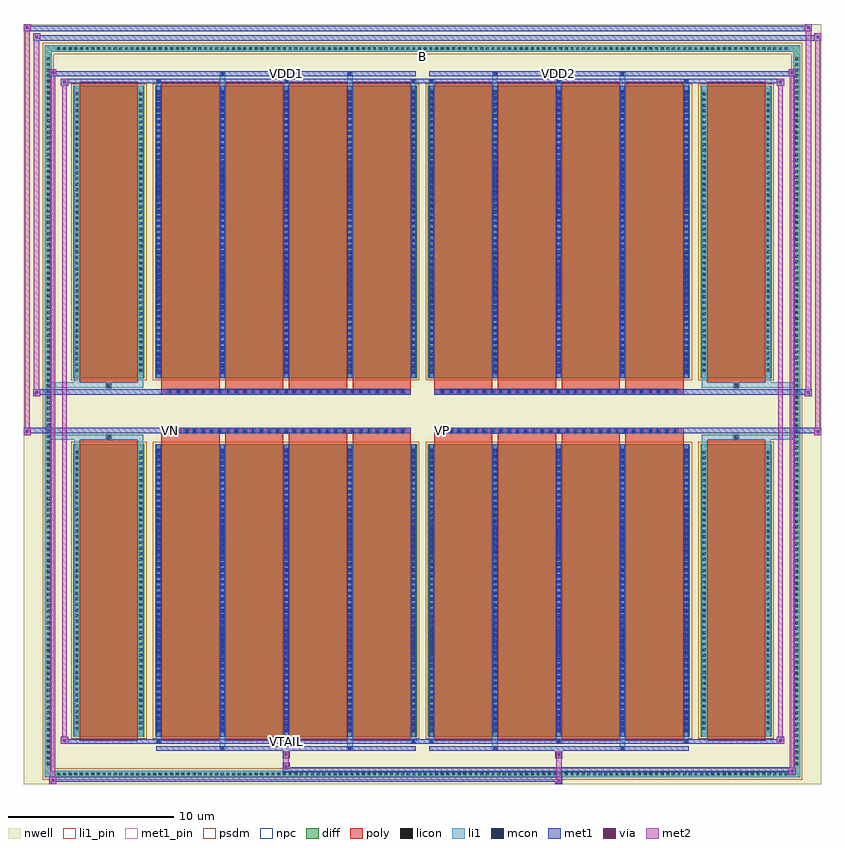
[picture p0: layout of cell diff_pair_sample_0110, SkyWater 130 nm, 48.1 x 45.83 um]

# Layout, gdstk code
import gdstk
lib = gdstk.Library(unit=1e-6, precision=5e-09)
def R(c, l, rs):  # rectangles x0, y0, x1, y1
    for r in rs: c.add(gdstk.rectangle(r[:2], r[2:], *l))
def A(c, l, x, y, w, h, nx, ny, dx, dy):  # array of equal rectangles
    R(c, l, [(x+i*dx, y+j*dy, x+i*dx+w, y+j*dy+h) for i in range(nx) for j in range(ny)])
def P(c, l, *ps):  # polygons
    for p in ps: c.add(gdstk.Polygon(p, *l))
nwell = (64, 20)
diff = (65, 20)
poly = (66, 20)
licon = (66, 44)
li1_pin = (67, 16)
li1 = (67, 20)
mcon = (67, 44)
met1_pin = (68, 16)
met1 = (68, 20)
via = (68, 44)
met2 = (69, 20)
psdm = (94, 20)
npc = (95, 20)

diff_pair_sample_0110 = lib.new_cell('diff_pair_sample_0110')
R(diff_pair_sample_0110, nwell, [(-24.05,-22.48,24.05,23.35), (-21.37,-20.67,-0.01,-0.805), (0.01,-20.67,21.37,-0.805), (-21.37,0.805,-0.01,20.67), (0.01,0.805,21.37,20.67)])
A(diff_pair_sample_0110, diff, -22.135, -22.08, 0.41, 0.41, 130, 2, 0.34, 43.75)
A(diff_pair_sample_0110, diff, -22.78, -21.455, 0.41, 0.41, 1, 126, 0, 0.34)
A(diff_pair_sample_0110, diff, 22.37, -21.455, 0.41, 0.41, 1, 126, 0, 0.34)
R(diff_pair_sample_0110, diff, [(-22.135,-22.08,22.135,-21.67), (-22.78,-21.455,-22.37,21.455), (22.37,-21.455,22.78,21.455), (-21.06,-19.625,-16.77,-1.985), (-16.13,-19.625,-0.32,-1.985), (0.32,-19.625,16.13,-1.985), (16.77,-19.625,21.06,-1.985), (-21.06,1.985,-16.77,19.625), (-16.13,1.985,-0.32,19.625), (0.32,1.985,16.13,19.625), (16.77,1.985,21.06,19.625), (-22.135,21.67,22.135,22.08)])
P(diff_pair_sample_0110, diff, [(22.78,22.08),(-22.78,22.08),(-22.78,-21.67),(-22.37,-21.67),(-22.37,21.67),(22.37,21.67),(22.37,-21.67),(-22.37,-21.67),(-22.78,-21.67),(-22.78,-22.08),(22.78,-22.08)])
A(diff_pair_sample_0110, poly, -15.74, -19.875, 3.51, 18.14, 4, 2, 3.84, 21.61)
A(diff_pair_sample_0110, poly, 0.71, -19.875, 3.51, 18.14, 4, 2, 3.84, 21.61)
A(diff_pair_sample_0110, poly, -15.74, -1.735, 3.51, 0.4, 4, 2, 3.84, 3.07)
A(diff_pair_sample_0110, poly, 0.71, -1.735, 3.51, 0.4, 4, 2, 3.84, 3.07)
A(diff_pair_sample_0110, poly, -15.39, -1.335, 0.33, 0.33, 29, 2, 0.5, 2.34)
A(diff_pair_sample_0110, poly, 1.06, -1.335, 0.33, 0.33, 29, 2, 0.5, 2.34)
R(diff_pair_sample_0110, poly, [(-20.67,-19.875,-17.16,-1.735), (17.16,-19.875,20.67,-1.735), (-19.08,-1.735,-18.75,-1.405), (-19.08,-1.735,-18.75,-1.405), (18.75,-1.735,19.08,-1.405), (18.75,-1.735,19.08,-1.405), (-15.74,-1.335,-0.71,-1.005), (0.71,-1.335,15.74,-1.005), (-15.74,1.005,-0.71,1.335), (0.71,1.005,15.74,1.335), (-19.08,1.405,-18.75,1.735), (-19.08,1.405,-18.75,1.735), (18.75,1.405,19.08,1.735), (18.75,1.405,19.08,1.735), (-20.67,1.735,-17.16,19.875), (17.16,1.735,20.67,19.875)])
A(diff_pair_sample_0110, licon, -22.015, -21.96, 0.17, 0.17, 130, 2, 0.34, 43.75)
A(diff_pair_sample_0110, licon, -22.66, -21.335, 0.17, 0.17, 1, 126, 0, 0.34)
A(diff_pair_sample_0110, licon, 22.49, -21.335, 0.17, 0.17, 1, 126, 0, 0.34)
A(diff_pair_sample_0110, licon, -20.92, -19.22, 0.17, 0.17, 1, 50, 0, 0.34)
A(diff_pair_sample_0110, licon, -17.08, -19.22, 0.17, 0.17, 1, 50, 0, 0.34)
A(diff_pair_sample_0110, licon, -15.99, -19.22, 0.17, 0.17, 5, 50, 3.84, 0.34)
A(diff_pair_sample_0110, licon, 0.46, -19.22, 0.17, 0.17, 5, 50, 3.84, 0.34)
A(diff_pair_sample_0110, licon, 16.91, -19.22, 0.17, 0.17, 1, 50, 0, 0.34)
A(diff_pair_sample_0110, licon, 20.75, -19.22, 0.17, 0.17, 1, 50, 0, 0.34)
A(diff_pair_sample_0110, licon, -15.31, -1.255, 0.17, 0.17, 29, 2, 0.5, 2.34)
A(diff_pair_sample_0110, licon, 1.14, -1.255, 0.17, 0.17, 29, 2, 0.5, 2.34)
A(diff_pair_sample_0110, licon, -20.92, 2.39, 0.17, 0.17, 1, 50, 0, 0.34)
A(diff_pair_sample_0110, licon, -17.08, 2.39, 0.17, 0.17, 1, 50, 0, 0.34)
A(diff_pair_sample_0110, licon, -15.99, 2.39, 0.17, 0.17, 5, 50, 3.84, 0.34)
A(diff_pair_sample_0110, licon, 0.46, 2.39, 0.17, 0.17, 5, 50, 3.84, 0.34)
A(diff_pair_sample_0110, licon, 16.91, 2.39, 0.17, 0.17, 1, 50, 0, 0.34)
A(diff_pair_sample_0110, licon, 20.75, 2.39, 0.17, 0.17, 1, 50, 0, 0.34)
R(diff_pair_sample_0110, licon, [(-19,-1.655,-18.83,-1.485), (18.83,-1.655,19,-1.485), (-19,1.485,-18.83,1.655), (18.83,1.485,19,1.655)])
R(diff_pair_sample_0110, li1_pin, [(-0.25,21.17,0.25,21.67)])
A(diff_pair_sample_0110, li1, -22.095, -22.04, 0.33, 0.33, 130, 2, 0.34, 43.75)
A(diff_pair_sample_0110, li1, -22.74, -21.415, 0.33, 0.33, 1, 126, 0, 0.34)
A(diff_pair_sample_0110, li1, 22.41, -21.415, 0.33, 0.33, 1, 126, 0, 0.34)
A(diff_pair_sample_0110, li1, -16.07, -20, 0.33, 0.375, 3, 2, 7.68, 39.625)
A(diff_pair_sample_0110, li1, -15.99, -20, 0.17, 0.17, 3, 2, 7.68, 39.83)
A(diff_pair_sample_0110, li1, 0.38, -20, 0.33, 0.375, 3, 2, 7.68, 39.625)
A(diff_pair_sample_0110, li1, 0.46, -20, 0.17, 0.17, 3, 2, 7.68, 39.83)
A(diff_pair_sample_0110, li1, -16.07, -19.625, 0.33, 17.64, 5, 2, 3.84, 21.61)
A(diff_pair_sample_0110, li1, 0.38, -19.625, 0.33, 17.64, 5, 2, 3.84, 21.61)
A(diff_pair_sample_0110, li1, -15.99, -19.35, 0.17, 0.17, 5, 48, 3.84, 0.36)
A(diff_pair_sample_0110, li1, -15.99, -19.35, 0.17, 17.09, 5, 2, 3.84, 21.61)
A(diff_pair_sample_0110, li1, 0.46, -19.35, 0.17, 0.17, 5, 48, 3.84, 0.36)
A(diff_pair_sample_0110, li1, 0.46, -19.35, 0.17, 17.09, 5, 2, 3.84, 21.61)
A(diff_pair_sample_0110, li1, -21, -19.3, 0.33, 0.33, 1, 50, 0, 0.34)
A(diff_pair_sample_0110, li1, -17.16, -19.3, 0.33, 0.33, 1, 50, 0, 0.34)
A(diff_pair_sample_0110, li1, -16.07, -19.3, 0.33, 0.33, 5, 50, 3.84, 0.34)
A(diff_pair_sample_0110, li1, 0.38, -19.3, 0.33, 0.33, 5, 50, 3.84, 0.34)
A(diff_pair_sample_0110, li1, 16.83, -19.3, 0.33, 0.33, 1, 50, 0, 0.34)
A(diff_pair_sample_0110, li1, 20.67, -19.3, 0.33, 0.33, 1, 50, 0, 0.34)
A(diff_pair_sample_0110, li1, -15.39, -1.335, 0.33, 0.33, 29, 2, 0.5, 2.34)
A(diff_pair_sample_0110, li1, 1.06, -1.335, 0.33, 0.33, 29, 2, 0.5, 2.34)
A(diff_pair_sample_0110, li1, -15.99, 2.26, 0.17, 0.17, 5, 48, 3.84, 0.36)
A(diff_pair_sample_0110, li1, 0.46, 2.26, 0.17, 0.17, 5, 48, 3.84, 0.36)
A(diff_pair_sample_0110, li1, -21, 2.31, 0.33, 0.33, 1, 50, 0, 0.34)
A(diff_pair_sample_0110, li1, -17.16, 2.31, 0.33, 0.33, 1, 50, 0, 0.34)
A(diff_pair_sample_0110, li1, -16.07, 2.31, 0.33, 0.33, 5, 50, 3.84, 0.34)
A(diff_pair_sample_0110, li1, 0.38, 2.31, 0.33, 0.33, 5, 50, 3.84, 0.34)
A(diff_pair_sample_0110, li1, 16.83, 2.31, 0.33, 0.33, 1, 50, 0, 0.34)
A(diff_pair_sample_0110, li1, 20.67, 2.31, 0.33, 0.33, 1, 50, 0, 0.34)
R(diff_pair_sample_0110, li1, [(-22.78,-22.08,-22.37,-21.67), (-22.78,-22.08,-22.37,-21.67), (-22.37,-22.08,22.37,-21.67), (22.37,-22.08,22.78,-21.67), (22.37,-22.08,22.78,-21.67), (-22.78,-21.67,-22.37,21.67), (22.37,-21.67,22.78,21.67), (-12.23,-20.43,-11.9,-19.625), (-12.15,-20.43,-11.98,-20.26), (-4.55,-20.43,-4.22,-19.625), (-4.47,-20.43,-4.3,-20.26), (4.22,-20.43,4.55,-19.625), (4.3,-20.43,4.47,-20.26), (11.9,-20.43,12.23,-19.625), (11.98,-20.43,12.15,-20.26), (-21,-19.625,-20.67,-1.985), (-17.16,-19.625,-16.83,-1.985), (16.83,-19.625,17.16,-1.985), (20.67,-19.625,21,-1.985), (-21,-1.985,-20.67,-1.405), (-17.16,-1.985,-16.83,-1.405), (16.83,-1.985,17.16,-1.405), (20.67,-1.985,21,-1.405), (-22.78,-1.735,-19.08,-1.405), (-21,-1.735,-19.08,-1.405), (-19.08,-1.735,-18.75,-1.405), (-18.75,-1.735,-16.83,-1.405), (16.83,-1.735,18.75,-1.405), (18.75,-1.735,19.08,-1.405), (18.75,-1.735,22.78,-1.405), (19.08,-1.735,21,-1.405), (-22.78,1.405,-19.08,1.735), (-21,1.405,-19.08,1.735), (-21,1.405,-20.67,1.985), (-19.08,1.405,-18.75,1.735), (-18.75,1.405,-16.83,1.735), (-17.16,1.405,-16.83,1.985), (16.83,1.405,18.75,1.735), (16.83,1.405,17.16,1.985), (18.75,1.405,19.08,1.735), (18.75,1.405,22.78,1.735), (19.08,1.405,21,1.735), (20.67,1.405,21,1.985), (-21,1.985,-20.67,19.625), (-17.16,1.985,-16.83,19.625), (16.83,1.985,17.16,19.625), (20.67,1.985,21,19.625), (-12.23,19.625,-11.9,20.43), (-4.55,19.625,-4.22,20.43), (4.22,19.625,4.55,20.43), (11.9,19.625,12.23,20.43), (-12.15,20.26,-11.98,20.43), (-4.47,20.26,-4.3,20.43), (4.3,20.26,4.47,20.43), (11.98,20.26,12.15,20.43), (-22.78,21.67,-22.37,22.08), (-22.78,21.67,-22.37,22.08), (-22.37,21.67,22.37,22.08), (22.37,21.67,22.78,22.08), (22.37,21.67,22.78,22.08)])
A(diff_pair_sample_0110, mcon, -15.99, -20, 0.17, 0.17, 3, 2, 7.68, 39.83)
A(diff_pair_sample_0110, mcon, 0.46, -20, 0.17, 0.17, 3, 2, 7.68, 39.83)
A(diff_pair_sample_0110, mcon, -15.99, -19.35, 0.17, 0.17, 5, 48, 3.84, 0.36)
A(diff_pair_sample_0110, mcon, 0.46, -19.35, 0.17, 0.17, 5, 48, 3.84, 0.36)
A(diff_pair_sample_0110, mcon, -15.31, -1.255, 0.17, 0.17, 29, 2, 0.5, 2.34)
A(diff_pair_sample_0110, mcon, 1.14, -1.255, 0.17, 0.17, 29, 2, 0.5, 2.34)
A(diff_pair_sample_0110, mcon, -15.99, 2.26, 0.17, 0.17, 5, 48, 3.84, 0.36)
A(diff_pair_sample_0110, mcon, 0.46, 2.26, 0.17, 0.17, 5, 48, 3.84, 0.36)
R(diff_pair_sample_0110, mcon, [(-12.15,-20.43,-11.98,-20.26), (-4.47,-20.43,-4.3,-20.26), (4.3,-20.43,4.47,-20.26), (11.98,-20.43,12.15,-20.26), (-12.15,20.26,-11.98,20.43), (-4.47,20.26,-4.3,20.43), (4.3,20.26,4.47,20.43), (11.98,20.26,12.15,20.43)])
R(diff_pair_sample_0110, met1_pin, [(-8.36,-20.04,-8.09,-19.77), (-15.36,-1.295,-15.09,-1.025), (1.09,-1.295,1.36,-1.025), (-8.36,20.22,-8.09,20.49), (8.09,20.22,8.36,20.49)])
A(diff_pair_sample_0110, met1, -16.05, -20.06, 0.29, 0.29, 3, 2, 7.68, 39.83)
A(diff_pair_sample_0110, met1, 0.4, -20.06, 0.29, 0.29, 3, 2, 7.68, 39.83)
A(diff_pair_sample_0110, met1, -16.05, -19.625, 0.29, 17.64, 5, 2, 3.84, 21.61)
A(diff_pair_sample_0110, met1, 0.4, -19.625, 0.29, 17.64, 5, 2, 3.84, 21.61)
A(diff_pair_sample_0110, met1, -16.05, -19.41, 0.29, 0.29, 5, 48, 3.84, 0.36)
A(diff_pair_sample_0110, met1, 0.4, -19.41, 0.29, 0.29, 5, 48, 3.84, 0.36)
A(diff_pair_sample_0110, met1, -15.37, -1.315, 0.29, 0.29, 29, 2, 0.5, 2.34)
A(diff_pair_sample_0110, met1, 1.08, -1.315, 0.29, 0.29, 29, 2, 0.5, 2.34)
A(diff_pair_sample_0110, met1, -16.05, 2.2, 0.29, 0.29, 5, 48, 3.84, 0.36)
A(diff_pair_sample_0110, met1, 0.4, 2.2, 0.29, 0.29, 5, 48, 3.84, 0.36)
R(diff_pair_sample_0110, met1, [(-22.51,-22.48,-22.08,-22.05), (8.01,-22.48,8.44,-22.05), (-22.51,-22.34,8.44,-22.05), (22.08,-21.91,22.51,-21.48), (-8.44,-21.77,22.51,-21.48), (-8.44,-21.63,-8.01,-21.2), (-8.44,-20.92,-8.01,-20.49), (8.01,-20.92,8.44,-20.49), (-16.05,-20.49,-0.4,-20.2), (-12.21,-20.49,-11.92,-20.2), (-4.53,-20.49,-4.24,-20.2), (0.4,-20.49,16.05,-20.2), (4.24,-20.49,4.53,-20.2), (11.92,-20.49,12.21,-20.2), (-21.8,-20.06,-21.37,-19.63), (-21.8,-20.06,-16.05,-19.77), (-16.05,-20.06,-0.4,-19.77), (-0.4,-20.06,0.4,-19.77), (0.4,-20.06,16.05,-19.77), (16.05,-20.06,21.8,-19.77), (21.37,-20.06,21.8,-19.63), (-24.05,-1.435,-23.62,-1.005), (23.62,-1.435,24.05,-1.005), (-24.05,-1.335,-0.71,-1.005), (-15.74,-1.335,-0.71,-1.005), (0.71,-1.335,15.74,-1.005), (0.71,-1.335,24.05,-1.005), (-23.48,0.905,-23.05,1.335), (23.05,0.905,23.48,1.335), (-23.48,1.005,-15.74,1.335), (-15.74,1.005,-0.71,1.335), (0.71,1.005,15.74,1.335), (15.74,1.005,23.48,1.335), (-21.8,19.63,-21.37,20.06), (21.37,19.63,21.8,20.06), (-21.8,19.77,-16.05,20.06), (-16.05,19.77,-0.4,20.06), (-0.4,19.77,0.4,20.06), (0.4,19.77,16.05,20.06), (16.05,19.77,21.8,20.06), (-22.51,20.2,-22.08,20.63), (-22.51,20.2,-16.05,20.49), (-16.05,20.2,-0.4,20.49), (-12.21,20.2,-11.92,20.49), (-4.53,20.2,-4.24,20.49), (0.4,20.2,16.05,20.49), (4.24,20.2,4.53,20.49), (11.92,20.2,12.21,20.49), (16.05,20.2,22.51,20.49), (22.08,20.2,22.51,20.63), (-23.48,22.35,-23.05,22.78), (-23.48,22.35,-21.37,22.68), (-21.37,22.35,21.37,22.68), (21.37,22.35,24.05,22.68), (23.62,22.35,24.05,22.78), (-24.05,22.92,-23.62,23.35), (-24.05,22.92,-21.37,23.25), (-21.37,22.92,21.37,23.25), (21.37,22.92,23.48,23.25), (23.05,22.92,23.48,23.35)])
R(diff_pair_sample_0110, via, [(-22.37,-22.34,-22.22,-22.19), (8.15,-22.34,8.3,-22.19), (22.22,-21.77,22.37,-21.62), (-8.3,-21.49,-8.15,-21.34), (-8.3,-20.78,-8.15,-20.63), (8.15,-20.78,8.3,-20.63), (-21.66,-19.92,-21.51,-19.77), (21.51,-19.92,21.66,-19.77), (-23.91,-1.295,-23.76,-1.145), (23.76,-1.295,23.91,-1.145), (-23.34,1.045,-23.19,1.195), (23.19,1.045,23.34,1.195), (-21.66,19.77,-21.51,19.92), (21.51,19.77,21.66,19.92), (-22.37,20.34,-22.22,20.49), (22.22,20.34,22.37,20.49), (-23.34,22.49,-23.19,22.64), (23.76,22.49,23.91,22.64), (-23.91,23.06,-23.76,23.21), (23.19,23.06,23.34,23.21)])
R(diff_pair_sample_0110, met2, [(-22.51,-22.48,-22.08,-22.05), (-22.44,-22.48,-22.15,20.63), (-22.15,-22.48,-22.08,-22.05), (-22.46,-22.43,-22.13,-22.1), (8.06,-22.43,8.39,-22.1), (8.06,-22.1,8.39,-20.87), (22.08,-21.91,22.51,-21.48), (22.15,-21.91,22.44,20.63), (22.44,-21.91,22.51,-21.48), (22.13,-21.86,22.46,-21.53), (-8.39,-21.58,-8.06,-21.25), (-8.39,-21.25,-8.06,-20.87), (-8.39,-20.87,-8.06,-20.54), (8.06,-20.87,8.39,-20.54), (-21.8,-20.06,-21.37,-19.63), (-21.73,-20.06,-21.44,20.06), (-21.44,-20.06,-21.37,-19.63), (21.37,-20.06,21.8,-19.63), (21.44,-20.06,21.73,20.06), (21.73,-20.06,21.8,-19.63), (-21.75,-20.01,-21.42,-19.68), (21.42,-20.01,21.75,-19.68), (-24.05,-1.435,-23.62,-1.005), (-24,-1.435,-23.67,23.35), (-23.67,-1.435,-23.62,-1.005), (23.62,-1.435,24.05,-1.005), (23.67,-1.435,24,22.78), (24,-1.435,24.05,-1.005), (-24,-1.385,-23.67,-1.055), (23.67,-1.385,24,-1.055), (-23.48,0.905,-23.05,1.335), (-23.43,0.905,-23.1,22.78), (-23.1,0.905,-23.05,1.335), (23.05,0.905,23.48,1.335), (23.1,0.905,23.43,23.35), (23.43,0.905,23.48,1.335), (-23.43,0.955,-23.1,1.285), (23.1,0.955,23.43,1.285), (-21.8,19.63,-21.37,20.06), (-21.44,19.63,-21.37,20.06), (21.37,19.63,21.8,20.06), (21.73,19.63,21.8,20.06), (-21.75,19.68,-21.42,20.01), (21.42,19.68,21.75,20.01), (-22.51,20.2,-22.08,20.63), (-22.15,20.2,-22.08,20.63), (22.08,20.2,22.51,20.63), (22.44,20.2,22.51,20.63), (-22.46,20.25,-22.13,20.58), (22.13,20.25,22.46,20.58), (-23.48,22.35,-23.05,22.78), (-23.1,22.35,-23.05,22.78), (23.62,22.35,24.05,22.78), (24,22.35,24.05,22.78), (-23.43,22.4,-23.1,22.73), (23.67,22.4,24,22.73), (-24.05,22.92,-23.62,23.35), (-23.67,22.92,-23.62,23.35), (23.05,22.92,23.48,23.35), (23.43,22.92,23.48,23.35), (-24,22.97,-23.67,23.3), (23.1,22.97,23.43,23.3)])
R(diff_pair_sample_0110, psdm, [(-21.19,-19.755,-16.64,-1.855), (-16.26,-19.755,-0.19,-1.855), (0.19,-19.755,16.26,-1.855), (16.64,-19.755,21.19,-1.855), (-21.19,1.855,-16.64,19.755), (-16.26,1.855,-0.19,19.755), (0.19,1.855,16.26,19.755), (16.64,1.855,21.19,19.755)])
P(diff_pair_sample_0110, psdm, [(22.91,22.21),(-22.91,22.21),(-22.91,-21.54),(-22.24,-21.54),(-22.24,21.54),(22.24,21.54),(22.24,-21.54),(-22.24,-21.54),(-22.91,-21.54),(-22.91,-22.21),(22.91,-22.21)])
A(diff_pair_sample_0110, npc, -15.41, -1.355, 0.37, 0.37, 29, 2, 0.5, 2.34)
A(diff_pair_sample_0110, npc, 1.04, -1.355, 0.37, 0.37, 29, 2, 0.5, 2.34)
R(diff_pair_sample_0110, npc, [(-19.1,-1.755,-18.73,-1.385), (18.73,-1.755,19.1,-1.385), (-15.41,-1.355,-14.54,-0.985), (-15.41,-1.355,-14.54,-0.985), (-14.91,-1.355,-14.04,-0.985), (-14.91,-1.355,-14.04,-0.985), (-14.41,-1.355,-13.54,-0.985), (-14.41,-1.355,-13.54,-0.985), (-13.91,-1.355,-13.04,-0.985), (-13.91,-1.355,-13.04,-0.985), (-13.41,-1.355,-12.54,-0.985), (-13.41,-1.355,-12.54,-0.985), (-12.91,-1.355,-12.04,-0.985), (-12.91,-1.355,-12.04,-0.985), (-12.41,-1.355,-11.54,-0.985), (-12.41,-1.355,-11.54,-0.985), (-11.91,-1.355,-11.04,-0.985), (-11.91,-1.355,-11.04,-0.985), (-11.41,-1.355,-10.54,-0.985), (-11.41,-1.355,-10.54,-0.985), (-10.91,-1.355,-10.04,-0.985), (-10.91,-1.355,-10.04,-0.985), (-10.41,-1.355,-9.54,-0.985), (-10.41,-1.355,-9.54,-0.985), (-9.91,-1.355,-9.04,-0.985), (-9.91,-1.355,-9.04,-0.985), (-9.41,-1.355,-8.54,-0.985), (-9.41,-1.355,-8.54,-0.985), (-8.91,-1.355,-8.04,-0.985), (-8.91,-1.355,-8.04,-0.985), (-8.41,-1.355,-7.54,-0.985), (-8.41,-1.355,-7.54,-0.985), (-7.91,-1.355,-7.04,-0.985), (-7.91,-1.355,-7.04,-0.985), (-7.41,-1.355,-6.54,-0.985), (-7.41,-1.355,-6.54,-0.985), (-6.91,-1.355,-6.04,-0.985), (-6.91,-1.355,-6.04,-0.985), (-6.41,-1.355,-5.54,-0.985), (-6.41,-1.355,-5.54,-0.985), (-5.91,-1.355,-5.04,-0.985), (-5.91,-1.355,-5.04,-0.985), (-5.41,-1.355,-4.54,-0.985), (-5.41,-1.355,-4.54,-0.985), (-4.91,-1.355,-4.04,-0.985), (-4.91,-1.355,-4.04,-0.985), (-4.41,-1.355,-3.54,-0.985), (-4.41,-1.355,-3.54,-0.985), (-3.91,-1.355,-3.04,-0.985), (-3.91,-1.355,-3.04,-0.985), (-3.41,-1.355,-2.54,-0.985), (-3.41,-1.355,-2.54,-0.985), (-2.91,-1.355,-2.04,-0.985), (-2.91,-1.355,-2.04,-0.985), (-2.41,-1.355,-1.54,-0.985), (-2.41,-1.355,-1.54,-0.985), (-1.91,-1.355,-1.04,-0.985), (-1.91,-1.355,-1.04,-0.985), (1.04,-1.355,1.91,-0.985), (1.04,-1.355,1.91,-0.985), (1.54,-1.355,2.41,-0.985), (1.54,-1.355,2.41,-0.985), (2.04,-1.355,2.91,-0.985), (2.04,-1.355,2.91,-0.985), (2.54,-1.355,3.41,-0.985), (2.54,-1.355,3.41,-0.985), (3.04,-1.355,3.91,-0.985), (3.04,-1.355,3.91,-0.985), (3.54,-1.355,4.41,-0.985), (3.54,-1.355,4.41,-0.985), (4.04,-1.355,4.91,-0.985), (4.04,-1.355,4.91,-0.985), (4.54,-1.355,5.41,-0.985), (4.54,-1.355,5.41,-0.985), (5.04,-1.355,5.91,-0.985), (5.04,-1.355,5.91,-0.985), (5.54,-1.355,6.41,-0.985), (5.54,-1.355,6.41,-0.985), (6.04,-1.355,6.91,-0.985), (6.04,-1.355,6.91,-0.985), (6.54,-1.355,7.41,-0.985), (6.54,-1.355,7.41,-0.985), (7.04,-1.355,7.91,-0.985), (7.04,-1.355,7.91,-0.985), (7.54,-1.355,8.41,-0.985), (7.54,-1.355,8.41,-0.985), (8.04,-1.355,8.91,-0.985), (8.04,-1.355,8.91,-0.985), (8.54,-1.355,9.41,-0.985), (8.54,-1.355,9.41,-0.985), (9.04,-1.355,9.91,-0.985), (9.04,-1.355,9.91,-0.985), (9.54,-1.355,10.41,-0.985), (9.54,-1.355,10.41,-0.985), (10.04,-1.355,10.91,-0.985), (10.04,-1.355,10.91,-0.985), (10.54,-1.355,11.41,-0.985), (10.54,-1.355,11.41,-0.985), (11.04,-1.355,11.91,-0.985), (11.04,-1.355,11.91,-0.985), (11.54,-1.355,12.41,-0.985), (11.54,-1.355,12.41,-0.985), (12.04,-1.355,12.91,-0.985), (12.04,-1.355,12.91,-0.985), (12.54,-1.355,13.41,-0.985), (12.54,-1.355,13.41,-0.985), (13.04,-1.355,13.91,-0.985), (13.04,-1.355,13.91,-0.985), (13.54,-1.355,14.41,-0.985), (13.54,-1.355,14.41,-0.985), (14.04,-1.355,14.91,-0.985), (14.04,-1.355,14.91,-0.985), (14.54,-1.355,15.41,-0.985), (14.54,-1.355,15.41,-0.985), (-15.41,0.985,-14.54,1.355), (-15.41,0.985,-14.54,1.355), (-14.91,0.985,-14.04,1.355), (-14.91,0.985,-14.04,1.355), (-14.41,0.985,-13.54,1.355), (-14.41,0.985,-13.54,1.355), (-13.91,0.985,-13.04,1.355), (-13.91,0.985,-13.04,1.355), (-13.41,0.985,-12.54,1.355), (-13.41,0.985,-12.54,1.355), (-12.91,0.985,-12.04,1.355), (-12.91,0.985,-12.04,1.355), (-12.41,0.985,-11.54,1.355), (-12.41,0.985,-11.54,1.355), (-11.91,0.985,-11.04,1.355), (-11.91,0.985,-11.04,1.355), (-11.41,0.985,-10.54,1.355), (-11.41,0.985,-10.54,1.355), (-10.91,0.985,-10.04,1.355), (-10.91,0.985,-10.04,1.355), (-10.41,0.985,-9.54,1.355), (-10.41,0.985,-9.54,1.355), (-9.91,0.985,-9.04,1.355), (-9.91,0.985,-9.04,1.355), (-9.41,0.985,-8.54,1.355), (-9.41,0.985,-8.54,1.355), (-8.91,0.985,-8.04,1.355), (-8.91,0.985,-8.04,1.355), (-8.41,0.985,-7.54,1.355), (-8.41,0.985,-7.54,1.355), (-7.91,0.985,-7.04,1.355), (-7.91,0.985,-7.04,1.355), (-7.41,0.985,-6.54,1.355), (-7.41,0.985,-6.54,1.355), (-6.91,0.985,-6.04,1.355), (-6.91,0.985,-6.04,1.355), (-6.41,0.985,-5.54,1.355), (-6.41,0.985,-5.54,1.355), (-5.91,0.985,-5.04,1.355), (-5.91,0.985,-5.04,1.355), (-5.41,0.985,-4.54,1.355), (-5.41,0.985,-4.54,1.355), (-4.91,0.985,-4.04,1.355), (-4.91,0.985,-4.04,1.355), (-4.41,0.985,-3.54,1.355), (-4.41,0.985,-3.54,1.355), (-3.91,0.985,-3.04,1.355), (-3.91,0.985,-3.04,1.355), (-3.41,0.985,-2.54,1.355), (-3.41,0.985,-2.54,1.355), (-2.91,0.985,-2.04,1.355), (-2.91,0.985,-2.04,1.355), (-2.41,0.985,-1.54,1.355), (-2.41,0.985,-1.54,1.355), (-1.91,0.985,-1.04,1.355), (-1.91,0.985,-1.04,1.355), (1.04,0.985,1.91,1.355), (1.04,0.985,1.91,1.355), (1.54,0.985,2.41,1.355), (1.54,0.985,2.41,1.355), (2.04,0.985,2.91,1.355), (2.04,0.985,2.91,1.355), (2.54,0.985,3.41,1.355), (2.54,0.985,3.41,1.355), (3.04,0.985,3.91,1.355), (3.04,0.985,3.91,1.355), (3.54,0.985,4.41,1.355), (3.54,0.985,4.41,1.355), (4.04,0.985,4.91,1.355), (4.04,0.985,4.91,1.355), (4.54,0.985,5.41,1.355), (4.54,0.985,5.41,1.355), (5.04,0.985,5.91,1.355), (5.04,0.985,5.91,1.355), (5.54,0.985,6.41,1.355), (5.54,0.985,6.41,1.355), (6.04,0.985,6.91,1.355), (6.04,0.985,6.91,1.355), (6.54,0.985,7.41,1.355), (6.54,0.985,7.41,1.355), (7.04,0.985,7.91,1.355), (7.04,0.985,7.91,1.355), (7.54,0.985,8.41,1.355), (7.54,0.985,8.41,1.355), (8.04,0.985,8.91,1.355), (8.04,0.985,8.91,1.355), (8.54,0.985,9.41,1.355), (8.54,0.985,9.41,1.355), (9.04,0.985,9.91,1.355), (9.04,0.985,9.91,1.355), (9.54,0.985,10.41,1.355), (9.54,0.985,10.41,1.355), (10.04,0.985,10.91,1.355), (10.04,0.985,10.91,1.355), (10.54,0.985,11.41,1.355), (10.54,0.985,11.41,1.355), (11.04,0.985,11.91,1.355), (11.04,0.985,11.91,1.355), (11.54,0.985,12.41,1.355), (11.54,0.985,12.41,1.355), (12.04,0.985,12.91,1.355), (12.04,0.985,12.91,1.355), (12.54,0.985,13.41,1.355), (12.54,0.985,13.41,1.355), (13.04,0.985,13.91,1.355), (13.04,0.985,13.91,1.355), (13.54,0.985,14.41,1.355), (13.54,0.985,14.41,1.355), (14.04,0.985,14.91,1.355), (14.04,0.985,14.91,1.355), (14.54,0.985,15.41,1.355), (14.54,0.985,15.41,1.355), (-19.1,1.385,-18.73,1.755), (18.73,1.385,19.1,1.755)])
diff_pair_sample_0110.add(gdstk.Label('VTAIL', (-8.225,-19.905), layer=68, texttype=5))
diff_pair_sample_0110.add(gdstk.Label('VN', (-15.225,-1.16), layer=68, texttype=5))
diff_pair_sample_0110.add(gdstk.Label('VP', (1.225,-1.16), layer=68, texttype=5))
diff_pair_sample_0110.add(gdstk.Label('B', (0,21.42), layer=67, texttype=5))
diff_pair_sample_0110.add(gdstk.Label('VDD2', (8.225,20.355), layer=68, texttype=5))
diff_pair_sample_0110.add(gdstk.Label('VDD1', (-8.225,20.355), layer=68, texttype=5))

lib.write_gds('diff_pair_sample_0110.gds')
